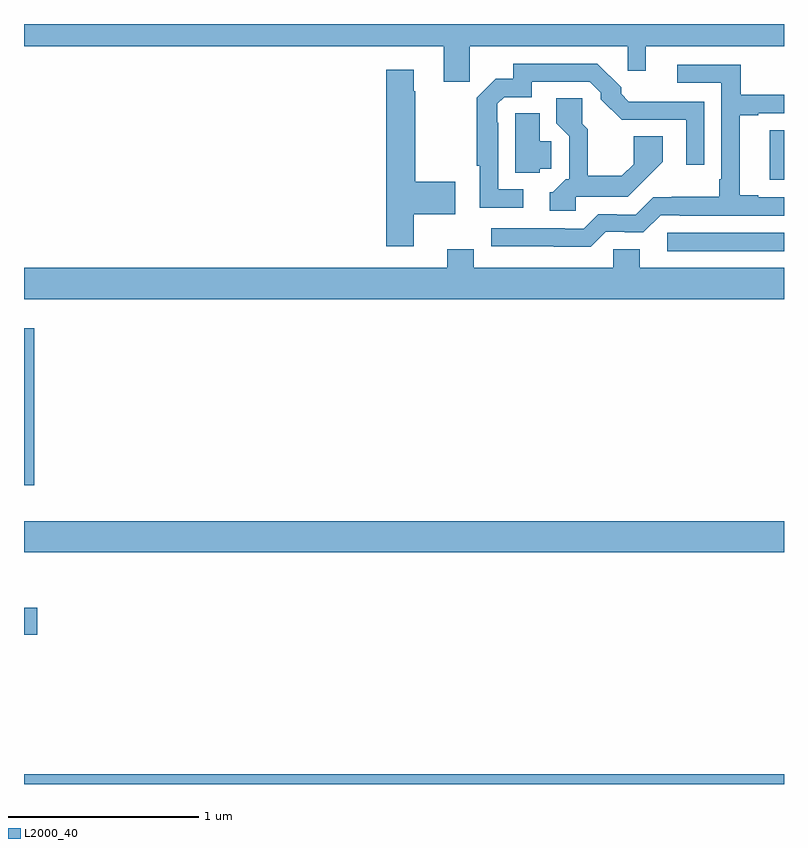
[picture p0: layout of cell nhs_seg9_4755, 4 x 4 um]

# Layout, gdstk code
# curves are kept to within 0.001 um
import gdstk
lib = gdstk.Library(unit=1e-6, precision=1e-09)
def R(c, l, rs):  # rectangles x0, y0, x1, y1
    for r in rs: c.add(gdstk.rectangle(r[:2], r[2:], *l))
def P(c, l, *ps):  # polygons
    for p in ps: c.add(gdstk.Polygon(p, *l))
L2000_40 = (2000, 40)

nhs_seg9_4755 = lib.new_cell('nhs_seg9_4755')
R(nhs_seg9_4755, L2000_40, [(385,1228.5,389,1228.552), (385,1229.285,385.069,1229.427), (385,1229.72,389,1229.884), (385,1230.072,385.055,1230.898), (388.386,1231.305,389,1231.401), (388.925,1231.68,389,1231.941)])
P(nhs_seg9_4755, L2000_40, [(387.347,1232.384),(388.177,1232.384),(388.177,1232.255),(388.273,1232.255),(388.273,1232.384),(389,1232.384),(389,1232.5),(385,1232.5),(385,1232.384),(387.209,1232.384),(387.209,1232.196),(387.347,1232.196)],
  [(387.628,1231.629),(387.495,1231.629),(387.495,1231.979),(387.492,1231.979),(387.492,1232.079),(387.528,1232.115),(387.672,1232.115),(387.672,1232.196),(387.978,1232.196),(388.035,1232.139),(388.035,1232.105),(388.145,1231.995),(388.485,1231.995),(388.485,1231.758),(388.581,1231.758),(388.581,1232.091),(388.184,1232.092),(388.144,1232.133),(388.144,1232.167),(388.018,1232.292),(387.574,1232.292),(387.574,1232.212),(387.484,1232.212),(387.384,1232.112),(387.384,1231.753),(387.399,1231.753),(387.399,1231.533),(387.628,1231.533)],
  [(388.062,1231.407),(388.163,1231.407),(388.163,1231.404),(388.26,1231.404),(388.35,1231.494),(388.45,1231.494),(388.45,1231.491),(389,1231.491),(389,1231.587),(388.864,1231.587),(388.864,1231.6),(388.768,1231.6),(388.768,1232.019),(388.864,1232.019),(388.864,1232.031),(389,1232.031),(389,1232.128),(388.772,1232.128),(388.772,1232.286),(388.437,1232.286),(388.437,1232.19),(388.671,1232.19),(388.671,1231.684),(388.659,1231.684),(388.659,1231.591),(388.408,1231.591),(388.408,1231.587),(388.311,1231.587),(388.221,1231.497),(388.121,1231.497),(388.121,1231.5),(388.023,1231.5),(387.945,1231.422),(387.845,1231.422),(387.845,1231.425),(387.459,1231.425),(387.459,1231.329),(387.983,1231.328)],
  [(387.052,1231.499),(387.271,1231.499),(387.271,1231.67),(387.06,1231.67),(387.06,1232.147),(387.052,1232.147),(387.052,1232.26),(386.906,1232.26),(386.906,1231.329),(387.052,1231.329)],
  [(387.903,1231.59),(388.177,1231.59),(388.363,1231.774),(388.363,1231.91),(388.209,1231.91),(388.209,1231.762),(388.147,1231.701),(387.968,1231.701),(387.968,1231.946),(387.939,1231.975),(387.939,1232.11),(387.8,1232.11),(387.8,1231.978),(387.87,1231.908),(387.87,1231.683),(387.852,1231.683),(387.783,1231.614),(387.767,1231.614),(387.767,1231.518),(387.903,1231.518)],
  [(387.714,1231.737),(387.774,1231.737),(387.774,1231.883),(387.715,1231.883),(387.715,1232.03),(387.585,1232.03),(387.585,1231.718),(387.714,1231.718)],
  [(389,1231.216),(388.24,1231.216),(388.24,1231.314),(388.101,1231.314),(388.101,1231.216),(387.367,1231.216),(387.367,1231.315),(387.227,1231.315),(387.227,1231.216),(385,1231.216),(385,1231.052),(389,1231.052)])

lib.write_gds('nhs_seg9_4755.gds')
